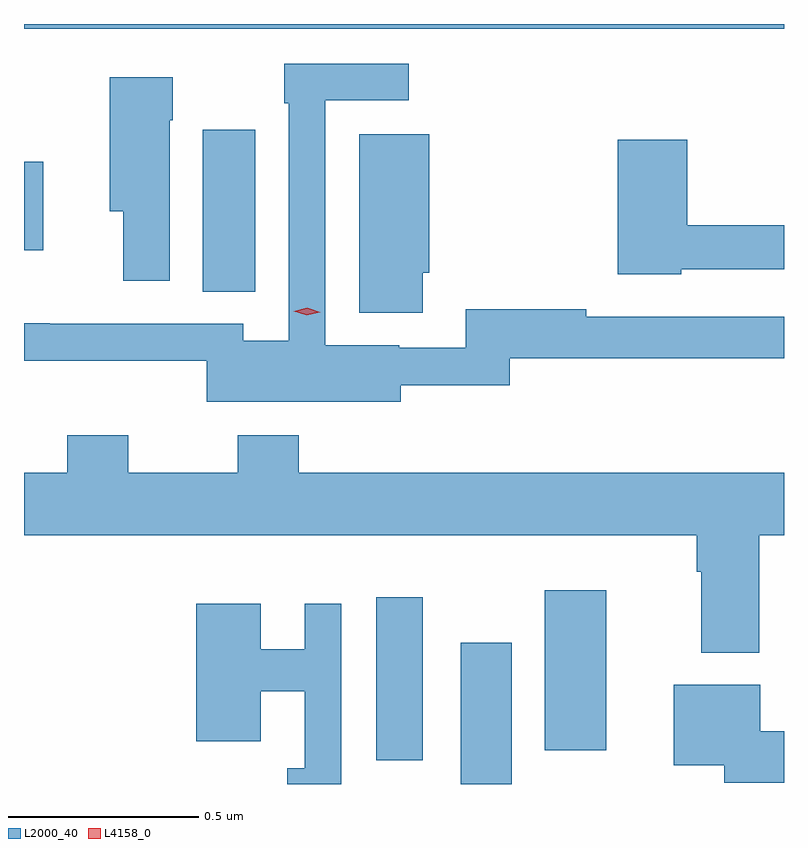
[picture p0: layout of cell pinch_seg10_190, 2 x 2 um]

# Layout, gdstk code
import gdstk
lib = gdstk.Library(unit=1e-6, precision=1e-09)
def R(c, l, rs):  # rectangles x0, y0, x1, y1
    for r in rs: c.add(gdstk.rectangle(r[:2], r[2:], *l))
def P(c, l, *ps):  # polygons
    for p in ps: c.add(gdstk.Polygon(p, *l))
L2000_40 = (2000, 40)
L4158_0 = (4158, 0)

pinch_seg10_190 = lib.new_cell('pinch_seg10_190')
R(pinch_seg10_190, L2000_40, [(699.272,1261.033,699.406,1261.405), (699.05,1261.095,699.172,1261.525), (699.494,1261.122,699.655,1261.543), (698.594,1262.329,698.731,1262.755), (698.123,1262.438,698.173,1262.671), (698.123,1263.02,700.123,1263.033)])
P(pinch_seg10_190, L2000_40, [(699.115,1262.083),(699.401,1262.083),(699.401,1262.154),(700.123,1262.154),(700.123,1262.262),(699.602,1262.262),(699.602,1262.282),(699.285,1262.282),(699.285,1262.181),(699.111,1262.181),(699.111,1262.188),(698.916,1262.188),(698.916,1262.832),(699.136,1262.832),(699.136,1262.928),(698.808,1262.928),(698.808,1262.825),(698.82,1262.825),(698.82,1262.2),(698.7,1262.2),(698.7,1262.244),(698.191,1262.244),(698.191,1262.246),(698.123,1262.246),(698.123,1262.147),(698.604,1262.147),(698.604,1262.039),(699.115,1262.039)],
  [(698.506,1262.78),(698.514,1262.78),(698.514,1262.893),(698.348,1262.893),(698.348,1262.54),(698.384,1262.54),(698.384,1262.358),(698.506,1262.358)],
  [(699.172,1262.379),(699.19,1262.379),(699.19,1262.743),(699.005,1262.743),(699.005,1262.273),(699.172,1262.273)],
  [(699.852,1262.388),(700.123,1262.388),(700.123,1262.504),(699.869,1262.504),(699.869,1262.728),(699.686,1262.728),(699.686,1262.375),(699.852,1262.375)],
  [(700.058,1261.688),(700.123,1261.688),(700.123,1261.852),(698.846,1261.852),(698.846,1261.951),(698.686,1261.951),(698.686,1261.852),(698.397,1261.852),(698.397,1261.951),(698.237,1261.951),(698.237,1261.852),(698.123,1261.852),(698.123,1261.688),(699.893,1261.688),(699.893,1261.592),(699.905,1261.592),(699.905,1261.379),(700.058,1261.379)],
  [(698.958,1261.507),(698.862,1261.507),(698.862,1261.387),(698.746,1261.387),(698.746,1261.507),(698.576,1261.507),(698.576,1261.146),(698.746,1261.146),(698.746,1261.277),(698.862,1261.277),(698.862,1261.075),(698.816,1261.075),(698.816,1261.033),(698.958,1261.033)],
  [(700.123,1261.172),(700.06,1261.172),(700.06,1261.294),(699.833,1261.294),(699.833,1261.082),(699.966,1261.082),(699.966,1261.036),(700.123,1261.036)])
P(pinch_seg10_190, L4158_0, [(698.867,1262.266),(698.833,1262.277),(698.833,1262.277),(698.833,1262.277),(698.868,1262.286),(698.902,1262.274),(698.903,1262.274),(698.902,1262.274)])

lib.write_gds('pinch_seg10_190.gds')
